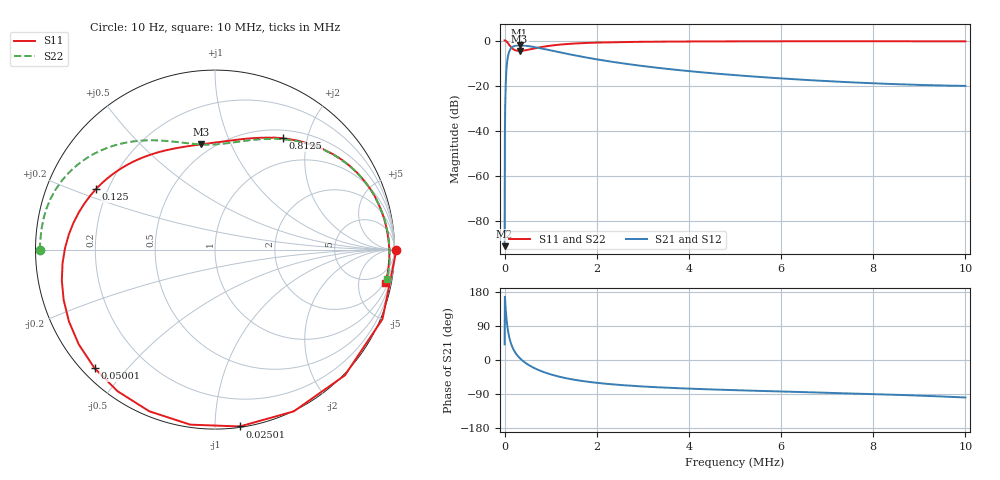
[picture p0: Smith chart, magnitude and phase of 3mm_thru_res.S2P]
!Keysight Technologies,E5061B,MY49912438,B.06.30
!Date: Thu Nov 06 23:56:52 2025
!Data & Calibration Information:
!Freq	S11:SOLT2(ON)	S21:SOLT2(ON)	S12:SOLT2(ON)	S22:SOLT2(ON)
# Hz S RI R 50
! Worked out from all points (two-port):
!   1601 points, 10 Hz to 10 MHz, reference 50 ohm
!   highest |S21| = -2.05 dB at 325 kHz (marker M1); lowest = -91.3 dB at 10 Hz (marker M2)
!   |S21| within 3 dB of the highest: 96.55 kHz to 1.17 MHz (1.074 MHz wide, 170 % of centre)
!   lowest |S11| = -4.6 dB at 325 kHz (marker M3), VSWR 3.89, Z = 21.5 + j38.8 ohm
!   |S11| at or under -10 dB: nowhere
!   |S22| runs from -4.6 to -0.2 dB; largest |S21 - S12| = 0.006
!   S11 on the Smith chart (normalised r, x): 10 Hz: open; 25.01 kHz: 0.01, -1.15; 50.01 kHz: 0.04, -0.41; 125 kHz: 0.16, +0.23; 812.5 kHz: 0.61, +1.61; 10 MHz: 2, -10
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10  1.011 -0.000878  2.05e-05 1.79e-05  8.02e-06 -0.000137  -0.9767 -0.00124
25009.97  0.1377 -0.9854  -0.076 0.0849  -0.077 0.0839  -0.9402 0.2253
50009.95  -0.6713 -0.6605  -0.0452 0.3033  -0.049 0.305  -0.8236 0.4192
56259.94  -0.759 -0.5281  -0.0129 0.35  -0.0167 0.3529  -0.7862 0.4557
62509.94  -0.8138 -0.4  0.0249 0.3899  0.0214 0.3938  -0.7477 0.487
81259.92  -0.8493 -0.0754  0.1534 0.4693  0.1519 0.475  -0.6328 0.5536
100009.9  -0.7874 0.1516  0.281 0.4984  0.2816 0.5043  -0.528 0.5891
125009.9  -0.6622 0.3379  0.4257 0.4865  0.4283 0.4918  -0.4121 0.607
150009.9  -0.5394 0.4417  0.5366 0.4443  0.5403 0.4486  -0.3215 0.6084
187509.8  -0.3885 0.5186  0.6501 0.3603  0.6544 0.3633  -0.2209 0.6004
250009.8  -0.215 0.5654  0.7479 0.2185  0.7523 0.22  -0.1087 0.588
325009.7  -0.0797 0.586  0.786 0.0749  0.7902 0.0756  -0.016 0.5853
537509.5  0.1596 0.6164  0.7294 -0.186  0.7331 -0.1865  0.1773 0.6074
812509.2  0.3779 0.6201  0.5772 -0.3357  0.5801 -0.3371  0.3806 0.6148
1206259  0.593 0.5639  0.3908 -0.3856  0.3929 -0.3873  0.591 0.5629
1668758  0.7428 0.4728  0.2529 -0.3627  0.2541 -0.3643  0.7398 0.4738
2368758  0.8568 0.3494  0.1442 -0.3024  0.1447 -0.304  0.8545 0.3527
3337507  0.9232 0.2254  0.0765 -0.2363  0.0768 -0.2375  0.922 0.2304
5000005  0.9621 0.0859  0.0308 -0.1688  0.0309 -0.1696  0.9622 0.0934
6668753  0.9714 -0.0153  0.0108 -0.1314  0.0108 -0.1321  0.9731 -0.00404
8337502  0.9663 -0.103  -0.00233 -0.1095  -0.00239 -0.11  0.9708 -0.0861
1e7  0.9476 -0.1879  -0.0154 -0.0978  -0.0155 -0.0982  0.9583 -0.1626
